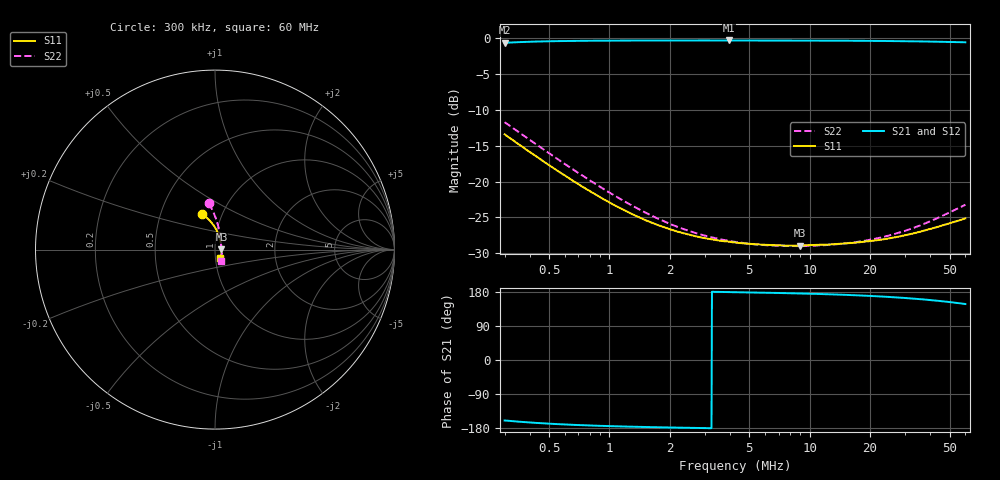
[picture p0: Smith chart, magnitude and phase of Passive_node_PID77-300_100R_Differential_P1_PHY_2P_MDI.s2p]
! TOUCHSTONE file generated by CST DESIGN STUDIO
! Date and time: Tue May 12 12:09:16 2026
! Project name: C:\sim_local\10base-t1m\passive_node_simulations_nostub.cst
! Tree item: Tasks\SPara1\S-Parameters
! Header version: 2024
! Port assignment regex: !\s*Touchstone port\s*([0-9]+)\s*=\s*(CST MWS port|CST DES external port|CST DES block port)\s*(.+)\s* \(\"(.*)\"\)(\s*mode\s*([0-9]+))?.*
! Touchstone port assignment:
! Touchstone port 1 = CST DES external port 1 ("PHY")
! Touchstone port 2 = CST DES external port 2 ("MDI")
# MHz S MA R 100
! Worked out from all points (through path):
!   1001 points, 300 kHz to 60 MHz, reference 100 ohm
!   highest |S21| = -0.31 dB at 3.939 MHz (marker M1); lowest = -0.6 dB at 300 kHz (marker M2)
!   lowest |S11| = -28.9 dB at 8.955 MHz (marker M3), VSWR 1.07, Z = 107 + j0.404 ohm
!   |S11| at or under -10 dB: start of sweep to end of sweep
!   |S22| runs from -29.0 to -11.7 dB; largest |S21 - S12| = 0.00039
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0.3  0.2136 110.3  0.9292 -159.6  0.9293 -159.6  0.2598 97.4
0.3669107  0.1753 102.7  0.9416 -163.4  0.9416 -163.4  0.213 92.9
0.4440148  0.1459 96.0  0.9494 -166.4  0.9493 -166.4  0.1769 88.8
0.5665586  0.1161 87.8  0.9557 -169.5  0.9557 -169.5  0.1401 83.5
0.7267638  0.093 79.7  0.9597 -172.0  0.9596 -172.0  0.1111 77.9
1.158468  0.06421 63.9  0.9634 -175.4  0.9633 -175.4  0.07439 66.0
1.416847  0.05614 56.9  0.9643 -176.5  0.9642 -176.5  0.06374 60.1
1.760619  0.0496 49.2  0.9648 -177.6  0.9647 -177.6  0.05494 53.4
2.199422  0.04471 41.3  0.9651 -178.5  0.9651 -178.5  0.04824 46.1
2.633562  0.04189 35.3  0.9652 -179.2  0.9651 -179.2  0.04427 40.1
3.20392  0.03965 29.1  0.9652 -179.9  0.9652 -179.9  0.04104 33.6
3.939325  0.03812 23.0  0.9653 179.3  0.9652 179.3  0.03868 27.0
4.242641  0.03758 20.9  0.9652 179.0  0.9651 179.0  0.03798 24.7
6.050695  0.03623 11.8  0.9648 177.5  0.9646 177.5  0.03599 14.6
8.955328  0.03575 3.0  0.9641 175.6  0.9639 175.6  0.03547 4.4
10.27799  0.03611 -1.0  0.9633 174.8  0.963 174.8  0.0357 -0.1
16.91239  0.03747 -12.8  0.9606 170.9  0.9602 170.9  0.0378 -13.4
24.89891  0.04017 -23.9  0.9565 166.4  0.9562 166.4  0.04204 -25.4
31.60288  0.04293 -32.3  0.9529 162.8  0.9526 162.8  0.0465 -34.0
40.32497  0.04684 -42.4  0.9479 158.1  0.9476 158.1  0.05313 -43.8
49.05826  0.05077 -51.5  0.943 153.4  0.9428 153.4  0.06017 -52.4
60  0.05536 -61.8  0.9371 147.7  0.9368 147.7  0.06903 -61.6
